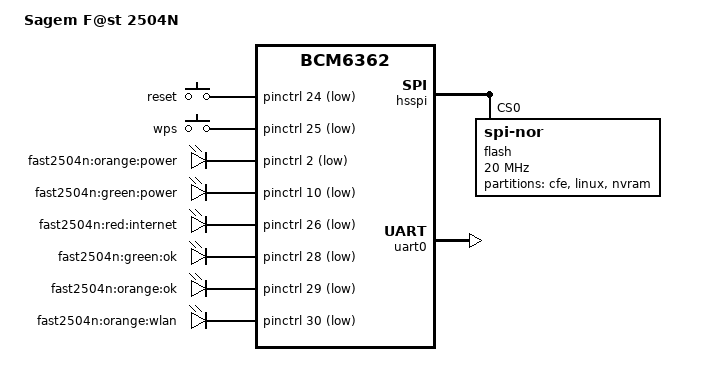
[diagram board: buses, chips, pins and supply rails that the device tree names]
/dts-v1/;

#include "bcm6362.dtsi"

#include <dt-bindings/input/input.h>

/ {
	model = "Sagem F@st 2504N";
	compatible = "sagem,fast-2504n", "brcm,bcm6362";

	aliases {
		led-boot = &led_ok_green;
		led-failsafe = &led_ok_green;
		led-running = &led_ok_green;
		led-upgrade = &led_ok_green;
	};

	chosen {
		bootargs = "rootfstype=squashfs,jffs2 noinitrd console=ttyS0,115200";
		stdout-path = "serial0:115200n8";
	};

	keys {
		compatible = "gpio-keys-polled";
		#address-cells = <1>;
		#size-cells = <0>;
		poll-interval = <20>;

		reset {
			label = "reset";
			gpios = <&pinctrl 24 1>;
			linux,code = <KEY_RESTART>;
			debounce-interval = <60>;
		};

		wps {
			label = "wps";
			gpios = <&pinctrl 25 1>;
			linux,code = <KEY_WPS_BUTTON>;
			debounce-interval = <60>;
		};
	};

	leds {
		compatible = "gpio-leds";

		power_orange {
			label = "fast2504n:orange:power";
			gpios = <&pinctrl 2 1>;
		};
		power_green {
			label = "fast2504n:green:power";
			gpios = <&pinctrl 10 1>;
			default-state = "on";
		};
		inet_red {
			label = "fast2504n:red:internet";
			gpios = <&pinctrl 26 1>;
		};
		led_ok_green: ok_green {
			label = "fast2504n:green:ok";
			gpios = <&pinctrl 28 1>;
		};
		ok_orange {
			label = "fast2504n:orange:ok";
			gpios = <&pinctrl 29 1>;
		};
		wlan_orangee {
			label = "fast2504n:orange:wlan";
			gpios = <&pinctrl 30 1>;
		};
	};
};

&hsspi {
	status = "okay";

	flash@0 {
		compatible = "jedec,spi-nor";
		spi-max-frequency = <20000000>;
		spi-tx-bus-width = <2>;
		spi-rx-bus-width = <2>;
		reg = <0>;

		#address-cells = <1>;
		#size-cells = <1>;

		partitions {
			compatible = "fixed-partitions";
			#address-cells = <1>;
			#size-cells = <1>;

			cfe@0 {
				reg = <0x000000 0x010000>;
				label = "cfe";
				read-only;
			};

			linux@10000 {
				reg = <0x010000 0x7e0000>;
				label = "linux";
				compatible = "brcm,bcm963xx-imagetag";
			};

			nvram@7f0000 {
				reg = <0x7f0000 0x010000>;
				label = "nvram";
			};
		};
	};
};

&uart0 {
	status = "okay";
};
